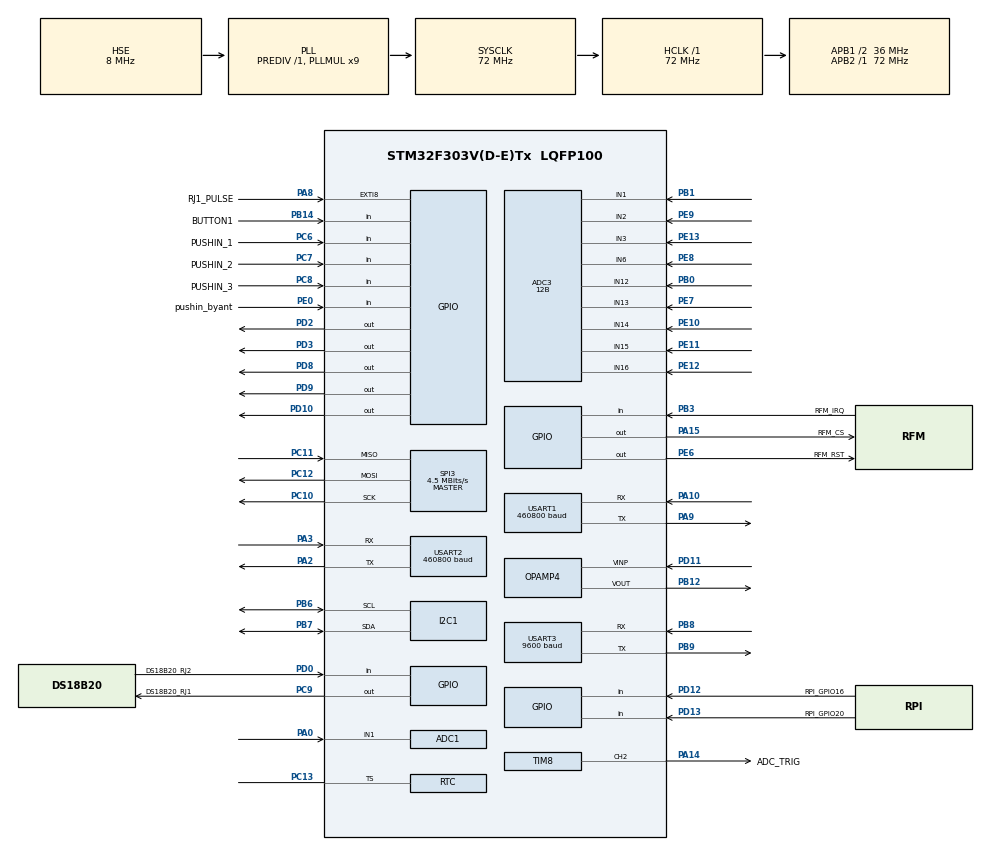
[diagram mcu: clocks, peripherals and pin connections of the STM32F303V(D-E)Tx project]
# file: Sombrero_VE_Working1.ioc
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ADC1.Channel-0\#ChannelRegularConversion=ADC_CHANNEL_1
ADC1.ClockPrescaler=ADC_CLOCK_SYNC_PCLK_DIV4
ADC1.ContinuousConvMode=ENABLE
ADC1.DMAContinuousRequests=ENABLE
ADC1.DataAlign=ADC_DATAALIGN_RIGHT
ADC1.DiscontinuousConvMode=DISABLE
ADC1.EOCSelection=ADC_EOC_SEQ_CONV
ADC1.EnableAnalogWatchDog1=false
ADC1.EnableAnalogWatchDog2=false
ADC1.EnableAnalogWatchDog3=false
ADC1.EnableInjectedConversion=DISABLE
ADC1.EnableRegularConversion=ENABLE
ADC1.ExternalTrigConv=ADC_EXTERNALTRIGCONV_T8_TRGO2
ADC1.ExternalTrigConvEdge=ADC_EXTERNALTRIGCONVEDGE_FALLING
ADC1.LowPowerAutoWait=DISABLE
ADC1.NbrOfConversion=1
ADC1.NbrOfConversionFlag=1
ADC1.Offset-0\#ChannelRegularConversion=0
ADC1.OffsetNumber-0\#ChannelRegularConversion=ADC_OFFSET_NONE
ADC1.Overrun=ADC_OVR_DATA_OVERWRITTEN
ADC1.Rank-0\#ChannelRegularConversion=1
ADC1.Resolution=ADC_RESOLUTION_12B
ADC1.SamplingTime-0\#ChannelRegularConversion=ADC_SAMPLETIME_601CYCLES_5
ADC1.ScanConvMode=ADC_SCAN_DISABLE
ADC1.master=1
ADC3.Channel-0\#ChannelRegularConversion=ADC_CHANNEL_12
ADC3.Channel-1\#ChannelRegularConversion=ADC_CHANNEL_1
ADC3.Channel-2\#ChannelRegularConversion=ADC_CHANNEL_13
ADC3.Channel-3\#ChannelRegularConversion=ADC_CHANNEL_6
ADC3.Channel-4\#ChannelRegularConversion=ADC_CHANNEL_2
ADC3.Channel-5\#ChannelRegularConversion=ADC_CHANNEL_14
ADC3.Channel-6\#ChannelRegularConversion=ADC_CHANNEL_15
ADC3.Channel-7\#ChannelRegularConversion=ADC_CHANNEL_16
ADC3.Channel-8\#ChannelRegularConversion=ADC_CHANNEL_3
ADC3.ClockPrescaler=ADC_CLOCK_SYNC_PCLK_DIV4
ADC3.ContinuousConvMode=ENABLE
ADC3.DMAContinuousRequests=ENABLE
ADC3.DataAlign=ADC_DATAALIGN_RIGHT
ADC3.DiscontinuousConvMode=DISABLE
ADC3.EOCSelection=ADC_EOC_SEQ_CONV
ADC3.EnableAnalogWatchDog1=false
ADC3.EnableAnalogWatchDog2=false
ADC3.EnableAnalogWatchDog3=false
ADC3.EnableInjectedConversion=DISABLE
ADC3.EnableRegularConversion=ENABLE
ADC3.ExternalTrigConv=ADC_EXTERNALTRIGCONV_T8_TRGO2
ADC3.ExternalTrigConvEdge=ADC_EXTERNALTRIGCONVEDGE_FALLING
ADC3.LowPowerAutoWait=DISABLE
ADC3.NbrOfConversion=9
ADC3.NbrOfConversionFlag=1
ADC3.Offset-0\#ChannelRegularConversion=0
ADC3.Offset-1\#ChannelRegularConversion=0
ADC3.Offset-2\#ChannelRegularConversion=0
ADC3.Offset-3\#ChannelRegularConversion=0
ADC3.Offset-4\#ChannelRegularConversion=0
ADC3.Offset-5\#ChannelRegularConversion=0
ADC3.Offset-6\#ChannelRegularConversion=0
ADC3.Offset-7\#ChannelRegularConversion=0
ADC3.Offset-8\#ChannelRegularConversion=0
ADC3.OffsetNumber-0\#ChannelRegularConversion=ADC_OFFSET_NONE
ADC3.OffsetNumber-1\#ChannelRegularConversion=ADC_OFFSET_NONE
ADC3.OffsetNumber-2\#ChannelRegularConversion=ADC_OFFSET_NONE
ADC3.OffsetNumber-3\#ChannelRegularConversion=ADC_OFFSET_NONE
ADC3.OffsetNumber-4\#ChannelRegularConversion=ADC_OFFSET_NONE
ADC3.OffsetNumber-5\#ChannelRegularConversion=ADC_OFFSET_NONE
ADC3.OffsetNumber-6\#ChannelRegularConversion=ADC_OFFSET_NONE
ADC3.OffsetNumber-7\#ChannelRegularConversion=ADC_OFFSET_NONE
ADC3.OffsetNumber-8\#ChannelRegularConversion=ADC_OFFSET_NONE
ADC3.Overrun=ADC_OVR_DATA_OVERWRITTEN
ADC3.Rank-0\#ChannelRegularConversion=1
ADC3.Rank-1\#ChannelRegularConversion=2
ADC3.Rank-2\#ChannelRegularConversion=3
ADC3.Rank-3\#ChannelRegularConversion=4
ADC3.Rank-4\#ChannelRegularConversion=5
ADC3.Rank-5\#ChannelRegularConversion=6
ADC3.Rank-6\#ChannelRegularConversion=7
ADC3.Rank-7\#ChannelRegularConversion=8
ADC3.Rank-8\#ChannelRegularConversion=9
ADC3.Resolution=ADC_RESOLUTION_12B
ADC3.SamplingTime-0\#ChannelRegularConversion=ADC_SAMPLETIME_601CYCLES_5
ADC3.SamplingTime-1\#ChannelRegularConversion=ADC_SAMPLETIME_601CYCLES_5
ADC3.SamplingTime-2\#ChannelRegularConversion=ADC_SAMPLETIME_601CYCLES_5
ADC3.SamplingTime-3\#ChannelRegularConversion=ADC_SAMPLETIME_601CYCLES_5
ADC3.SamplingTime-4\#ChannelRegularConversion=ADC_SAMPLETIME_601CYCLES_5
ADC3.SamplingTime-5\#ChannelRegularConversion=ADC_SAMPLETIME_601CYCLES_5
ADC3.SamplingTime-6\#ChannelRegularConversion=ADC_SAMPLETIME_601CYCLES_5
ADC3.SamplingTime-7\#ChannelRegularConversion=ADC_SAMPLETIME_601CYCLES_5
ADC3.SamplingTime-8\#ChannelRegularConversion=ADC_SAMPLETIME_601CYCLES_5
ADC3.ScanConvMode=ADC_SCAN_ENABLE
ADC3.master=1
Dma.ADC1.0.Direction=DMA_PERIPH_TO_MEMORY
Dma.ADC1.0.Instance=DMA1_Channel1
Dma.ADC1.0.MemDataAlignment=DMA_MDATAALIGN_HALFWORD
Dma.ADC1.0.MemInc=DMA_MINC_ENABLE
Dma.ADC1.0.Mode=DMA_CIRCULAR
Dma.ADC1.0.PeriphDataAlignment=DMA_PDATAALIGN_HALFWORD
Dma.ADC1.0.PeriphInc=DMA_PINC_DISABLE
Dma.ADC1.0.Priority=DMA_PRIORITY_HIGH
Dma.ADC3.4.Direction=DMA_PERIPH_TO_MEMORY
Dma.ADC3.4.Instance=DMA2_Channel5
Dma.ADC3.4.MemDataAlignment=DMA_MDATAALIGN_HALFWORD
Dma.ADC3.4.MemInc=DMA_MINC_ENABLE
Dma.ADC3.4.Mode=DMA_CIRCULAR
Dma.ADC3.4.PeriphDataAlignment=DMA_PDATAALIGN_HALFWORD
Dma.ADC3.4.PeriphInc=DMA_PINC_DISABLE
Dma.ADC3.4.Priority=DMA_PRIORITY_HIGH
Dma.Request0=ADC1
Dma.Request1=USART2_RX
Dma.Request2=USART1_RX
Dma.Request3=USART1_TX
Dma.Request4=ADC3
Dma.USART1_RX.2.Direction=DMA_PERIPH_TO_MEMORY
Dma.USART1_RX.2.Instance=DMA1_Channel5
Dma.USART1_RX.2.MemDataAlignment=DMA_MDATAALIGN_BYTE
Dma.USART1_RX.2.MemInc=DMA_MINC_ENABLE
Dma.USART1_RX.2.Mode=DMA_NORMAL
Dma.USART1_RX.2.PeriphDataAlignment=DMA_PDATAALIGN_BYTE
Dma.USART1_RX.2.PeriphInc=DMA_PINC_DISABLE
Dma.USART1_RX.2.Priority=DMA_PRIORITY_LOW
Dma.USART1_TX.3.Direction=DMA_MEMORY_TO_PERIPH
Dma.USART1_TX.3.Instance=DMA1_Channel4
Dma.USART1_TX.3.MemDataAlignment=DMA_MDATAALIGN_BYTE
Dma.USART1_TX.3.MemInc=DMA_MINC_ENABLE
Dma.USART1_TX.3.Mode=DMA_NORMAL
Dma.USART1_TX.3.PeriphDataAlignment=DMA_PDATAALIGN_BYTE
Dma.USART1_TX.3.PeriphInc=DMA_PINC_DISABLE
Dma.USART1_TX.3.Priority=DMA_PRIORITY_LOW
Dma.USART2_RX.1.Direction=DMA_PERIPH_TO_MEMORY
Dma.USART2_RX.1.Instance=DMA1_Channel6
Dma.USART2_RX.1.MemDataAlignment=DMA_MDATAALIGN_BYTE
Dma.USART2_RX.1.MemInc=DMA_MINC_ENABLE
Dma.USART2_RX.1.Mode=DMA_NORMAL
Dma.USART2_RX.1.PeriphDataAlignment=DMA_PDATAALIGN_BYTE
Dma.USART2_RX.1.PeriphInc=DMA_PINC_DISABLE
Dma.USART2_RX.1.Priority=DMA_PRIORITY_LOW
I2C1.OwnAddress=21
I2C1.Timing=0x10808DD3
Mcu.Family=STM32F3
Mcu.Name=STM32F303V(D-E)Tx
Mcu.Package=LQFP100
NVIC.ADC1_2_IRQn=true\:0\:0\:false\:false\:true\:true
NVIC.ADC3_IRQn=true\:0\:0\:false\:false\:true\:true
NVIC.DMA1_Channel1_IRQn=true\:0\:0\:false\:false\:true\:false
NVIC.DMA1_Channel4_IRQn=true\:0\:0\:false\:false\:true\:false
NVIC.DMA1_Channel5_IRQn=true\:0\:0\:false\:false\:true\:false
NVIC.DMA1_Channel6_IRQn=true\:0\:0\:false\:false\:true\:false
NVIC.DMA2_Channel5_IRQn=true\:0\:0\:false\:false\:true\:false
NVIC.EXTI9_5_IRQn=true\:0\:0\:false\:false\:true\:true
NVIC.PriorityGroup=NVIC_PRIORITYGROUP_4
NVIC.TAMP_STAMP_IRQn=true\:0\:0\:false\:false\:true\:true
NVIC.TIM1_UP_TIM16_IRQn=true\:0\:0\:false\:false\:true\:true
NVIC.USART1_IRQn=true\:0\:0\:false\:false\:true\:true
NVIC.USART2_IRQn=true\:0\:0\:false\:false\:true\:true
OPAMP4.SelfCalibration=Disable
PA0.Mode=IN1-Single-Ended
PA0.Signal=ADC1_IN1
PA10.Mode=Asynchronous
PA10.Signal=USART1_RX
PA14.GPIO_Label=ADC_TRIG
PA14.GPIO_PuPd=GPIO_NOPULL
PA14.Signal=S_TIM8_CH2
PA15.GPIO_Label=RFM_CS
PA15.GPIO_ModeDefaultOutputPP=GPIO_MODE_OUTPUT_PP
PA15.GPIO_PuPd=GPIO_NOPULL
PA15.GPIO_Speed=GPIO_SPEED_FREQ_HIGH
PA15.PinState=GPIO_PIN_SET
PA15.Signal=GPIO_Output
PA2.Mode=Asynchronous
PA2.Signal=USART2_TX
PA3.Mode=Asynchronous
PA3.Signal=USART2_RX
PA8.GPIO_Label=RJ1_PULSE
PA8.GPIO_PuPd=GPIO_PULLDOWN
PA8.Signal=GPXTI8
PA9.Mode=Asynchronous
PA9.Signal=USART1_TX
PB0.Mode=IN12-Single-Ended
PB0.Signal=ADC3_IN12
PB1.Mode=IN1-Single-Ended
PB1.Signal=ADC3_IN1
PB12.Mode=Follower
PB12.Signal=OPAMP4_VOUT
PB14.GPIO_Label=BUTTON1
PB14.Signal=GPIO_Input
PB3.GPIO_Label=RFM_IRQ
PB3.GPIO_PuPd=GPIO_NOPULL
PB3.Signal=GPIO_Input
PB6.Mode=I2C
PB6.Signal=I2C1_SCL
PB7.Mode=I2C
PB7.Signal=I2C1_SDA
PB8.Mode=Asynchronous
PB8.Signal=USART3_RX
PB9.Mode=Asynchronous
PB9.Signal=USART3_TX
PC10.Mode=Full_Duplex_Master
PC10.Signal=SPI3_SCK
PC11.Mode=Full_Duplex_Master
PC11.Signal=SPI3_MISO
PC12.Mode=Full_Duplex_Master
PC12.Signal=SPI3_MOSI
PC13.Mode=Timestamp enabled
PC13.Signal=RTC_TS
PC14-OSC32_IN.Mode=LSE-External-Oscillator
PC14-OSC32_IN.Signal=RCC_OSC32_IN
PC15-OSC32_OUT.Mode=LSE-External-Oscillator
PC15-OSC32_OUT.Signal=RCC_OSC32_OUT
PC6.GPIO_Label=PUSHIN_1
PC6.Signal=GPIO_Input
PC7.GPIO_Label=PUSHIN_2
PC7.Signal=GPIO_Input
PC8.GPIO_Label=PUSHIN_3
PC8.Signal=GPIO_Input
PC9.GPIO_Label=DS18B20_RJ1
PC9.Signal=GPIO_Output
PD0.GPIO_Label=DS18B20_RJ2
PD0.Signal=GPIO_Input
PD10.Signal=GPIO_Output
PD11.Mode=Follower
PD11.Signal=OPAMP4_VINP
PD12.GPIO_Label=RPI_GPIO16
PD12.GPIO_PuPd=GPIO_PULLDOWN
PD12.Signal=GPIO_Input
PD13.GPIO_Label=RPI_GPIO20
PD13.GPIO_PuPd=GPIO_PULLDOWN
PD13.Signal=GPIO_Input
PD2.Signal=GPIO_Output
PD3.Signal=GPIO_Output
PD8.Signal=GPIO_Output
PD9.Signal=GPIO_Output
PE0.GPIO_Label=pushin_byant
PE0.Signal=GPIO_Input
PE10.Mode=IN14-Single-Ended
PE10.Signal=ADC3_IN14
PE11.Mode=IN15-Single-Ended
PE11.Signal=ADC3_IN15
PE12.Mode=IN16-Single-Ended
PE12.Signal=ADC3_IN16
PE13.Mode=IN3-Single-Ended
PE13.Signal=ADC3_IN3
PE6.GPIO_Label=RFM_RST
PE6.PinState=GPIO_PIN_RESET
PE6.Signal=GPIO_Output
PE7.Mode=IN13-Single-Ended
PE7.Signal=ADC3_IN13
PE8.Signal=ADCx_IN6P
PE9.Mode=IN2-Single-Ended
PE9.Signal=ADC3_IN2
PF0-OSC_IN.Mode=HSE-External-Oscillator
PF0-OSC_IN.Signal=RCC_OSC_IN
PF1-OSC_OUT.Mode=HSE-External-Oscillator
PF1-OSC_OUT.Signal=RCC_OSC_OUT
ProjectManager.HeapSize=0x200
ProjectManager.StackSize=0x400
ProjectManager.TargetToolchain=Makefile
RCC.AHBFreq_Value=72000000
RCC.APB1CLKDivider=RCC_HCLK_DIV2
RCC.APB1Freq_Value=36000000
RCC.APB1TimFreq_Value=72000000
RCC.APB2Freq_Value=72000000
RCC.APB2TimFreq_Value=72000000
RCC.CortexFreq_Value=72000000
RCC.HCLKFreq_Value=72000000
RCC.HSE_VALUE=8000000
RCC.HSI_VALUE=8000000
RCC.I2c1ClockSelection=RCC_I2C1CLKSOURCE_SYSCLK
RCC.PLLMUL=RCC_PLL_MUL9
RCC.PLLSourceVirtual=RCC_PLLSOURCE_HSE
RCC.PRESCALERUSB=RCC_USBCLKSOURCE_PLL_DIV1_5
RCC.RTCClockSelection=RCC_RTCCLKSOURCE_LSE
RCC.SYSCLKFreq_VALUE=72000000
RCC.SYSCLKSourceVirtual=RCC_SYSCLKSOURCE_PLLCLK
RCC.USBFreq_Value=48000000
RCC.Uart4ClockSelection=RCC_UART4CLKSOURCE_SYSCLK
RCC.Usart1ClockSelection=RCC_USART1CLKSOURCE_SYSCLK
RCC.Usart2ClockSelection=RCC_USART2CLKSOURCE_SYSCLK
RCC.Usart3ClockSelection=RCC_USART3CLKSOURCE_SYSCLK
RTC.Date=10
RTC.Hours=18
RTC.Month=RTC_MONTH_FEBRUARY
RTC.Year=20
SH.ADCx_IN6P.0=ADC3_IN6,IN6-Single-Ended
SH.S_TIM8_CH2.0=TIM8_CH2,PWM Generation2 CH2
SPI3.BaudRatePrescaler=SPI_BAUDRATEPRESCALER_8
SPI3.CalculateBaudRate=4.5 MBits/s
SPI3.DataSize=SPI_DATASIZE_8BIT
SPI3.Direction=SPI_DIRECTION_2LINES
SPI3.Mode=SPI_MODE_MASTER
SPI3.VirtualType=VM_MASTER
TIM16.AutoReloadPreload=TIM_AUTORELOAD_PRELOAD_DISABLE
TIM16.Period=9999
TIM16.Prescaler=710
TIM17.Period=9999
TIM17.Prescaler=710
TIM8.Channel-PWM\ Generation2\ CH2=TIM_CHANNEL_2
TIM8.OCFastMode_PWM-PWM\ Generation2\ CH2=TIM_OCFAST_DISABLE
TIM8.Period=9999
TIM8.Prescaler=71
TIM8.TIM_MasterOutputTrigger2=TIM_TRGO2_OC2REF
USART1.BaudRate=460800
USART1.DMADisableonRxErrorParam=ADVFEATURE_DMA_DISABLEONRXERROR
USART1.VirtualMode-Asynchronous=VM_ASYNC
USART2.BaudRate=460800
USART2.DMADisableonRxErrorParam=ADVFEATURE_DMA_DISABLEONRXERROR
USART2.VirtualMode-Asynchronous=VM_ASYNC
USART3.BaudRate=9600
USART3.VirtualMode-Asynchronous=VM_ASYNC
VP_RTC_VS_RTC_Activate.Mode=RTC_Enabled
VP_RTC_VS_RTC_Calendar.Mode=RTC_Calendar
VP_TIM16_VS_ClockSourceINT.Mode=Enable_Timer
VP_TIM16_VS_OPM.Mode=OPM_bit
VP_TIM17_VS_ClockSourceINT.Mode=Enable_Timer
VP_TIM17_VS_OPM.Mode=OPM_bit
board=custom

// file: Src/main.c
/**
  ******************************************************************************
  * @file           : main.c
  * @brief          : Main program body
  ******************************************************************************
  ** This notice applies to any and all portions of this file
  * that are not between comment pairs USER CODE BEGIN and
  * USER CODE END. Other portions of this file, whether
  * inserted by the user or by software development tools
  * are owned by their respective copyright owners.
  *
  * COPYRIGHT(c) 2020 STMicroelectronics
  *
  * Redistribution and use in source and binary forms, with or without modification,
  * are permitted provided that the following conditions are met:
  *   1. Redistributions of source code must retain the above copyright notice,
  *      this list of conditions and the following disclaimer.
  *   2. Redistributions in binary form must reproduce the above copyright notice,
  *      this list of conditions and the following disclaimer in the documentation
  *      and/or other materials provided with the distribution.
  *   3. Neither the name of STMicroelectronics nor the names of its contributors
  *      may be used to endorse or promote products derived from this software
  *      without specific prior written permission.
  *
  * THIS SOFTWARE IS PROVIDED BY THE COPYRIGHT HOLDERS AND CONTRIBUTORS "AS IS"
  * AND ANY EXPRESS OR IMPLIED WARRANTIES, INCLUDING, BUT NOT LIMITED TO, THE
  * IMPLIED WARRANTIES OF MERCHANTABILITY AND FITNESS FOR A PARTICULAR PURPOSE ARE
  * DISCLAIMED. IN NO EVENT SHALL THE COPYRIGHT HOLDER OR CONTRIBUTORS BE LIABLE
  * FOR ANY DIRECT, INDIRECT, INCIDENTAL, SPECIAL, EXEMPLARY, OR CONSEQUENTIAL
  * DAMAGES (INCLUDING, BUT NOT LIMITED TO, PROCUREMENT OF SUBSTITUTE GOODS OR
  * SERVICES; LOSS OF USE, DATA, OR PROFITS; OR BUSINESS INTERRUPTION) HOWEVER
  * CAUSED AND ON ANY THEORY OF LIABILITY, WHETHER IN CONTRACT, STRICT LIABILITY,
  * OR TORT (INCLUDING NEGLIGENCE OR OTHERWISE) ARISING IN ANY WAY OUT OF THE USE
  * OF THIS SOFTWARE, EVEN IF ADVISED OF THE POSSIBILITY OF SUCH DAMAGE.
  *
  ******************************************************************************
  */
#include "main.h"
#include "stm32f3xx_hal.h"
#include "adc.h"
#include "dma.h"
#include "i2c.h"
#include "opamp.h"
#include "rtc.h"
#include "spi.h"
#include "tim.h"
#include "usart.h"
#include "gpio.h"

/* USER CODE BEGIN Includes */
#include "jsmn.h"
#include <math.h>
#include <string.h>
#include <stdbool.h>
#include "RFM69.h"
#include "RFM69_ext.h"
//#include "ds18b20.h"
/* USER CODE END Includes */

/* USER CODE BEGIN PV */
/* Private variables ---------------------------------------------------------*/
// MODES
// 0 = Standalone
// 1 = rPi
int mode = 1; // in testing...

#define MID_ADC_READING 2048
// const int crossings = 251;
uint32_t post_interval = 5000; // millis to post data at.
bool post_flag = false;

// Serial output buffer
extern char log_buffer[];

// RADIO
bool radio_send = false;
uint16_t networkID = 100; // a.k.a. Network Group
uint8_t nodeID = 1;
uint16_t freqBand = 433;
uint8_t toAddress = 10;
bool requestACK = false;
const char key[20] = "asdfasdfasdfasdf";

typedef struct
{
  uint32_t nodeId; // store this nodeId
  uint32_t uptime; // uptime in ms
  //float         temp;   //temperature maybe?
} Payload;
Payload theData;

// Flags
bool readings_ready = false;
bool CLEAR_TO_GO = true;
bool readings_pls = false;

extern const uint16_t adc_buff_half_size;

// Calibration
const float VOLTS_PER_DIV = (3.3 / 4096.0);
//float VCAL = 266.1238757156; // note - single-phase proto board
//float VCAL = 224.4135906687; // note - 3-phase proto board
const float VCAL = 236.660160908; // dan's custom ac-ac adaptor
const float ICAL = 90.9;

// ISR accumulators
typedef struct channel_
{
  int64_t sum_P;
  uint64_t sum_V_sq;
  uint64_t sum_I_sq;
  int32_t sum_V;
  int32_t sum_I;
  uint32_t count;
  bool Iclipped;
} channel_t;

uint32_t pulseCount = 0;

static channel_t channels[CTn];
static channel_t channels_ready[CTn];

int16_t sample_V, sample_I, signed_V, signed_I;
int16_t sample_V_Hz, signed_V_Hz, previous_V_Hz, crossings_Hz;

bool hz_ready;
uint16_t Hzcounter, Hzaccumulator, Hzacc_begin, Hz_value_count;
float Hz_value, Hz_value_accumulator, Hz_value_averaged;
const float Tconv = 614.0*(1.0/72000000.0);

uint32_t current_millis = 0;

bool Vclipped = false;

char rx_string[COMMAND_BUFFER_SIZE];

bool crossings_flip = false;

uint32_t time_now;
uint32_t previous_time;

/* USER CODE END PV */

void SystemClock_Config(void);

/* USER CODE BEGIN PFP */
/* Private function prototypes -----------------------------------------------*/

/* USER CODE END PFP */

/* USER CODE BEGIN 0 */
void process_frame(uint16_t offset)
{
  HAL_GPIO_WritePin(GPIOD, GPIO_PIN_10, GPIO_PIN_SET);
  CLEAR_TO_GO = false;

  for (int i = 0; i < adc_buff_half_size; i += CTn)
  {
    // zero-crossing detection sample //
    sample_V_Hz = adc1_dma_buff[offset + i];
    if (sample_V_Hz == 4095)
    {
      Vclipped = true;
    }
    signed_V_Hz = sample_V_Hz - MID_ADC_READING;

    // zero-crossing detection
    if (signed_V_Hz * previous_V_Hz < 0)
    {
      previous_V_Hz = signed_V_Hz;
      crossings_Hz++;
      if (Hzcounter == 0) {
        Hzacc_begin = i;
      }
      Hzcounter++;
      Hzaccumulator += i;
    }
    else
    {
      previous_V_Hz = signed_V_Hz;
    }

    if (post_flag && ((crossings_Hz % 2) == crossings_flip))
    {
      crossings_flip ^= true; // boolean toggle.
      post_flag = false;

      // copy and reset accu.
      for (int ch = 0; ch < CTn; ch++)
      {
        channel_t *channel = &channels[ch];
        channel_t *chn = &channels_ready[ch];
        // Copy accumulators for use in main loop
        memcpy((void *)chn, (void *)channel, sizeof(channel_t));
        // Reset accumulators to zero ready for next set of measurements
        memset((void *)channel, 0, sizeof(channel_t));
      }
      Hz_value_averaged = Hz_value_accumulator / Hz_value_count;
      Hz_value_count = 0;
      Hz_value_accumulator = 0.0;
      readings_ready = true;
    }

    // Cycle through channels, accumulating
    for (int ch = 0; ch < CTn; ch++)
    {
      channel_t *channel = &channels[ch];

      // ----------------------------------------
      // Voltage
      sample_V = adc1_dma_buff[offset + i + ch];
      signed_V = sample_V - MID_ADC_READING;
      channel->sum_V += signed_V;
      channel->sum_V_sq += signed_V * signed_V;
      // ----------------------------------------
      // Current
      sample_I = adc3_dma_buff[offset + i + ch];
      if (sample_I >= 4090)
      {
        channel->Iclipped = true;
      }
      signed_I = sample_I - MID_ADC_READING;
      channel->sum_I += signed_I;
      channel->sum_I_sq += signed_I * signed_I;
      // ----------------------------------------
      // Power
      channel->sum_P += signed_V * signed_I;

      channel->count++;
    }

  }

  uint16_t conversion_counts = Hzaccumulator - Hzacc_begin;
  Hzcounter--;
  float temp_Hzvalue = conversion_counts / Hzcounter;
  Hz_value = 1.0000/((float)temp_Hzvalue * Tconv);
  Hz_value_count++;
  Hz_value_accumulator += Hz_value;
  Hzcounter = 0;
  Hzaccumulator = 0;
  Hzacc_begin = 0;

  CLEAR_TO_GO = true;
  HAL_GPIO_WritePin(GPIOD, GPIO_PIN_10, GPIO_PIN_RESET);
}

/* USER CODE END 0 */

int main(void)
{
  /* USER CODE BEGIN 1 */
  float V_RATIO = VCAL * VOLTS_PER_DIV;
  float I_RATIO = ICAL * VOLTS_PER_DIV;
  /* USER CODE END 1 */

  /* MCU Configuration----------------------------------------------------------*/

  /* Reset of all peripherals, Initializes the Flash interface and the Systick. */
  HAL_Init();

  /* Configure the system clock */
  SystemClock_Config();

  /* Initialize all configured peripherals */
  MX_GPIO_Init();
  MX_DMA_Init();
  MX_USART2_UART_Init();
  MX_OPAMP4_Init();
  MX_ADC3_Init();
  MX_TIM8_Init();
  MX_ADC1_Init();
  MX_USART1_UART_Init();
  MX_SPI3_Init();
  MX_TIM16_Init();
  MX_TIM17_Init();
  MX_USART3_UART_Init();
  MX_I2C1_Init();
  MX_RTC_Init();
  /* USER CODE BEGIN 2 */
  debug_printf("\r\n\r\nstart, connect VT\r\n");

  //json_parser();

  // READ GPIO STATE FOR MODE, is the rPi Connected?
  // HAL_Delay(500);
  if (HAL_GPIO_ReadPin(RPI_GPIO16_GPIO_Port, RPI_GPIO16_Pin) == 1 && HAL_GPIO_ReadPin(RPI_GPIO20_GPIO_Port, RPI_GPIO20_Pin) == 1)
  {
    debug_printf("rPi connected!\r\n");
    mode = 1;
  }

  // RADIO BEGIN
  RFM69_RST();
  HAL_Delay(10);
  if (RFM69_initialize(freqBand, nodeID, networkID))
  {
    sprintf(log_buffer, "RFM69 Initialized. Freq %dMHz. Node %d. Group %d.\r\n", freqBand, nodeID, networkID);
    debug_printf(log_buffer);
    //RFM69_readAllRegs();
  }
  else
  {
    debug_printf("RFM69 not connected.\r\n");
  }
  RFM69_encrypt(key);

  // ADC BEGIN
  HAL_ADCEx_Calibration_Start(&hadc1, ADC_SINGLE_ENDED);
  HAL_ADCEx_Calibration_Start(&hadc3, ADC_SINGLE_ENDED);
  HAL_OPAMP_Start(&hopamp4);
  HAL_Delay(2);
  start_ADCs();

  //init_ds18b20s();

  // UART DMA RX BEGIN
  __HAL_UART_ENABLE_IT(&huart1, UART_IT_IDLE);
  HAL_UART_Receive_DMA(&huart1, rx_buff, sizeof(rx_buff));
  __HAL_UART_ENABLE_IT(&huart2, UART_IT_IDLE);
  HAL_UART_Receive_DMA(&huart2, rx_buff, sizeof(rx_buff));

  char temp_buffer[150];

  //uint16_t pulse_debounce = 200; // milliseconds
  //uint16_t previous_pulse_time;
  //bool pulse_goahead1 = true;
  /* USER CODE END 2 */

  /* Infinite loop */
  /* USER CODE BEGIN WHILE */

  while (1)
  {
    //process_ds18b20s();

    time_now = HAL_GetTick();
    if (time_now - previous_time >= post_interval) {
      uint32_t correction = time_now - previous_time - post_interval;
      previous_time = time_now - correction;
      post_flag = true;
    }
/*
    // PULSE READING ON RJ45#1
    if ((HAL_GPIO_ReadPin(RJ1_PULSE_GPIO_Port, RJ1_PULSE_Pin) == true) && pulse_goahead1) {
      pulse_goahead1 = false;
      if (time_now - previous_pulse_time >= pulse_debounce) {
        debug_printf("PULSE!\r\n");
        pulseCount++;
      }
      previous_pulse_time = time_now;
    }
    else {
      pulse_goahead1 = true;
    }
*/
    // USART RX CHECKING
    if (usart1_rx_flag)
    {
      usart1_rx_flag = 0;
      memcpy(rx_string, rx_buff, sizeof(rx_buff));
      // stringready_flag = 1;
      memset(rx_buff, 0, sizeof(rx_buff));
      huart1.hdmarx->Instance->CCR &= ~DMA_CCR_EN;
      huart1.hdmarx->Instance->CNDTR = sizeof(rx_buff);
      huart1.hdmarx->Instance->CCR |= DMA_CCR_EN;
      // sprintf(log_buffer, "STM:");
      //strcat(log_buffer, "\r\n");
      //sprintf(log_buffer, "%s:123.1", rx_string);
      //strcat(log_buffer, "\r\n");
      rPi_printf("STM32:");
      json_parser(rx_string);
      //rPi_printf(log_buffer);
      // rPi_printf("baker_street:100:D:doodoodooo:80085\r\n");
    }
    if (usart2_rx_flag)
    {
      usart2_rx_flag = 0;
      memcpy(rx_string, rx_buff, sizeof(rx_buff));
      // stringready_flag = 1;
      memset(rx_buff, 0, sizeof(rx_buff));
      huart2.hdmarx->Instance->CCR &= ~DMA_CCR_EN;
      huart2.hdmarx->Instance->CNDTR = sizeof(rx_buff);
      huart2.hdmarx->Instance->CCR |= DMA_CCR_EN;
      /*if (!strcmp(rx_string, "data_pls")) {
        readings_pls =  true;
      }*/
      rPi_printf("STM32:");
      json_parser(rx_string);
//      strcat

      //(!strcmp(select, "boot_reason"))
      //sprintf(log_buffer, "%s\r\n", rx_string);
      //rPi_printf(log_buffer);
      //rPi_printf("baker_street:100:D:doodoodooo:80085\r\n");
    }

    if (conv_cplt_flag)
    {
      conv_cplt_flag = false;
      process_frame(0);
    }
    if (conv_hfcplt_flag)
    {
      conv_hfcplt_flag = false;
      process_frame(adc_buff_half_size);
    }

    if (readings_ready && CLEAR_TO_GO)
    //if (readings_pls)
    {
      HAL_GPIO_WritePin(GPIOD, GPIO_PIN_9, GPIO_PIN_SET);
      readings_ready = false;
      readings_pls = false;

      //memset(log_buffer, 0, sizeof(log_buffer));

      sprintf(log_buffer, "VCLIP:%d,", Vclipped);
      //strcat(log_buffer, temp_buffer);

      for (int ch = 0; ch < CTn; ch++)
      {
        channel_t *chn = &channels_ready[ch];

        float Vmean = (float)chn->sum_V / (float)chn->count;
        float Imean = (float)chn->sum_I / (float)chn->count;

        float f32sum_V_sq_avg = (float)chn->sum_V_sq / (float)chn->count;
        f32sum_V_sq_avg -= (Vmean * Vmean); // offset removal

        float f32sum_I_sq_avg = (float)chn->sum_I_sq / (float)chn->count;
        f32sum_I_sq_avg -= (Imean * Imean); // offset removal

        if (f32sum_V_sq_avg < 0) // if offset removal cause a negative number,
          f32sum_V_sq_avg = 0;   // make it 0 to avoid a nan at sqrt.
        if (f32sum_I_sq_avg < 0)
          f32sum_I_sq_avg = 0;

        float Vrms = V_RATIO * sqrtf(f32sum_V_sq_avg);
        float Irms = I_RATIO * sqrtf(f32sum_I_sq_avg);

        float f32_sum_P_avg = (float)chn->sum_P / (float)chn->count;
        float mean_P = f32_sum_P_avg - (Vmean * Imean); // offset removal
        float realPower = V_RATIO * I_RATIO * mean_P;

        float apparentPower = Vrms * Irms;

        float powerFactor;
        // calculate PF, preventing dividing by zero error.
        if (apparentPower != 0)
        {
          powerFactor = realPower / apparentPower;
        }
        else
          powerFactor = 0;

        int _ch = ch + 1;
        //sprintf(log_buffer, "V%d:%.2f,I%d:%.3f,RP%d:%.1f,AP%d:%.1f,PF%d:%.3f,C%d:%ld,ICLIP%d:%d", _ch, Vrms, _ch, Irms, _ch, realPower, _ch, apparentPower, _ch, powerFactor, _ch, chn->count, _ch, chn->Iclipped);
        //debug_printf(log_buffer);
        if (mode == 1) {
          sprintf(temp_buffer, "V%d:%.2f,I%d:%.3f,RP%d:%.1f,PF%d:%.3f,ICLIP%d:%d,", _ch, Vrms, _ch, Irms, _ch, realPower, _ch, powerFactor, _ch, chn->Iclipped);
          //rPi_printf(log_buffer);
          strcat(log_buffer, temp_buffer);
        }
        Vclipped = false; // reset

        //debug_printf(log_buffer);
        //debug_printf("\r\n");
      }

      current_millis = HAL_GetTick();
      sprintf(temp_buffer, "millis:%ld,", current_millis);
      if (mode == 1) strcat(log_buffer, temp_buffer);
      //strcat(log_buffer, "\r\n");
      //debug_printf(log_buffer);

      sprintf(temp_buffer, "PC:%ld", pulseCount);
      if (mode == 1) strcat(log_buffer, temp_buffer);

      // MAINS Hz CALCULATION, approximate due to CPU clock inaccuracy.
      //Hz_value_averaged
      sprintf(temp_buffer, ",Hz_estimate:%.2f", Hz_value_averaged);
      if (mode == 1) strcat(log_buffer, temp_buffer);
      /*
      else { strcat(log_buffer, "\r\n");
      debug_printf(log_buffer);
      }
      */

       if (mode == 1) strcat(log_buffer, "\r\n");

      rPi_printf(log_buffer);

      // RADIO test.
      if (radio_send)
      {
        theData.nodeId = 1;
        theData.uptime = HAL_GetTick();
        toAddress = 10;
        HAL_GPIO_WritePin(GPIOD, GPIO_PIN_8, 1);
        HAL_TIM_Base_Start_IT(&htim16); // LED blink
        RFM69_send(toAddress, (const void *)(&theData), sizeof(theData), requestACK);
        //RFM69_sendWithRetry(toAddress, (const void *)(&theData), sizeof(theData), 3,20);
      }
      HAL_GPIO_WritePin(GPIOD, GPIO_PIN_9, GPIO_PIN_RESET);
    }

    // SAMPLE RECEIVE CODE
    if (RFM69_ReadDIO0Pin()) {
      debug_printf("DIO-\r\n");
      RFM69_interruptHandler();
    }
    if (RFM69_receiveDone()) {
      HAL_GPIO_WritePin(GPIOD, GPIO_PIN_8, 1); // LED blink
      HAL_TIM_Base_Start_IT(&htim16); // LED blink
      debug_printf("Payload Received!\r\n");
      PrintRawBytes();
      PrintStruct();
      PrintByteByByte();
    }

  /* USER CODE END WHILE */

  }

}

void SystemClock_Config(void)
{

  RCC_OscInitTypeDef RCC_OscInitStruct;
  RCC_ClkInitTypeDef RCC_ClkInitStruct;
  RCC_PeriphCLKInitTypeDef PeriphClkInit;

    /**Configure LSE Drive Capability
    */
  HAL_PWR_EnableBkUpAccess();

  __HAL_RCC_LSEDRIVE_CONFIG(RCC_LSEDRIVE_LOW);

    /**Initializes the CPU, AHB and APB busses clocks
    */
  RCC_OscInitStruct.OscillatorType = RCC_OSCILLATORTYPE_HSE|RCC_OSCILLATORTYPE_LSE;
  RCC_OscInitStruct.HSEState = RCC_HSE_ON;
  RCC_OscInitStruct.LSEState = RCC_LSE_ON;
  RCC_OscInitStruct.HSIState = RCC_HSI_ON;
  RCC_OscInitStruct.PLL.PLLState = RCC_PLL_ON;
  RCC_OscInitStruct.PLL.PLLSource = RCC_PLLSOURCE_HSE;
  RCC_OscInitStruct.PLL.PLLMUL = RCC_PLL_MUL9;
  RCC_OscInitStruct.PLL.PREDIV = RCC_PREDIV_DIV1;
  if (HAL_RCC_OscConfig(&RCC_OscInitStruct) != HAL_OK)
  {
    _Error_Handler(__FILE__, __LINE__);
  }

    /**Initializes the CPU, AHB and APB busses clocks
    */
  RCC_ClkInitStruct.ClockType = RCC_CLOCKTYPE_HCLK|RCC_CLOCKTYPE_SYSCLK
                              |RCC_CLOCKTYPE_PCLK1|RCC_CLOCKTYPE_PCLK2;
  RCC_ClkInitStruct.SYSCLKSource = RCC_SYSCLKSOURCE_PLLCLK;
  RCC_ClkInitStruct.AHBCLKDivider = RCC_SYSCLK_DIV1;
  RCC_ClkInitStruct.APB1CLKDivider = RCC_HCLK_DIV2;
  RCC_ClkInitStruct.APB2CLKDivider = RCC_HCLK_DIV1;

  if (HAL_RCC_ClockConfig(&RCC_ClkInitStruct, FLASH_LATENCY_2) != HAL_OK)
  {
    _Error_Handler(__FILE__, __LINE__);
  }

  PeriphClkInit.PeriphClockSelection = RCC_PERIPHCLK_USART1|RCC_PERIPHCLK_USART2
                              |RCC_PERIPHCLK_USART3|RCC_PERIPHCLK_I2C1
                              |RCC_PERIPHCLK_RTC|RCC_PERIPHCLK_TIM16
                              |RCC_PERIPHCLK_TIM17|RCC_PERIPHCLK_TIM8;
  PeriphClkInit.Usart1ClockSelection = RCC_USART1CLKSOURCE_SYSCLK;
  PeriphClkInit.Usart2ClockSelection = RCC_USART2CLKSOURCE_SYSCLK;
  PeriphClkInit.Usart3ClockSelection = RCC_USART3CLKSOURCE_SYSCLK;
  PeriphClkInit.I2c1ClockSelection = RCC_I2C1CLKSOURCE_SYSCLK;
  PeriphClkInit.RTCClockSelection = RCC_RTCCLKSOURCE_LSE;
  PeriphClkInit.Tim16ClockSelection = RCC_TIM16CLK_HCLK;
  PeriphClkInit.Tim17ClockSelection = RCC_TIM17CLK_HCLK;
  PeriphClkInit.Tim8ClockSelection = RCC_TIM8CLK_HCLK;
  if (HAL_RCCEx_PeriphCLKConfig(&PeriphClkInit) != HAL_OK)
  {
    _Error_Handler(__FILE__, __LINE__);
  }

    /**Configure the Systick interrupt time
    */
  HAL_SYSTICK_Config(HAL_RCC_GetHCLKFreq()/1000);

    /**Configure the Systick
    */
  HAL_SYSTICK_CLKSourceConfig(SYSTICK_CLKSOURCE_HCLK);

  /* SysTick_IRQn interrupt configuration */
  HAL_NVIC_SetPriority(SysTick_IRQn, 0, 0);
}

/* USER CODE BEGIN 4 */
void HAL_GPIO_EXTI_Callback (uint16_t GPIO_Pin) {
  if (GPIO_Pin == RJ1_PULSE_Pin) {
    debug_printf("pulse!\r\n");
    pulseCount++;
  }
}
/* USER CODE END 4 */

void _Error_Handler(char *file, int line)
{
  /* USER CODE BEGIN Error_Handler_Debug */
  /* User can add his own implementation to report the HAL error return state */
  while (1)
  {
    sprintf(log_buffer, "sys_error:%s,line:%d\r\n", file, line);
    debug_printf(log_buffer);
  }
  /* USER CODE END Error_Handler_Debug */
}

/************************ (C) COPYRIGHT STMicroelectronics *****END OF FILE****/
